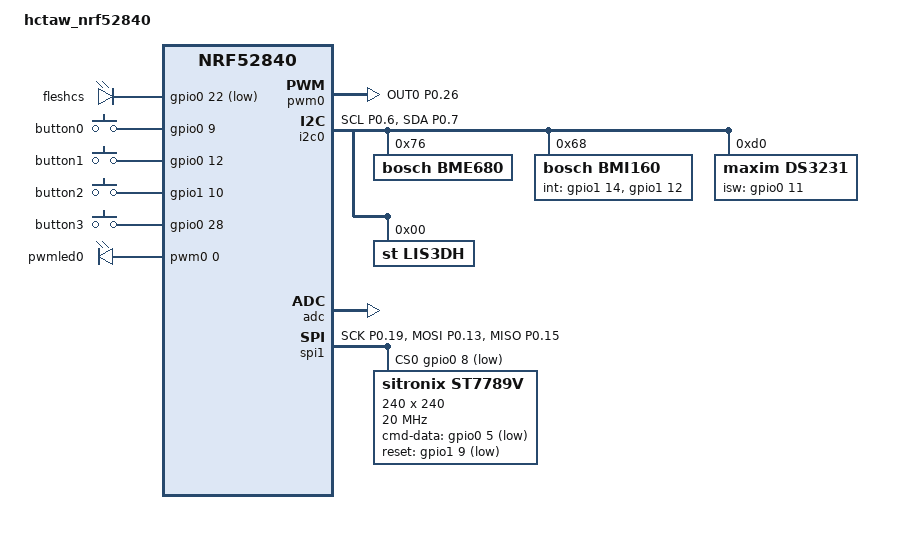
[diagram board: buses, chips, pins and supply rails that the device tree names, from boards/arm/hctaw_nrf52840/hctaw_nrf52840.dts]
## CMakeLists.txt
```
cmake_minimum_required(VERSION 3.20.0)
find_package(Zephyr REQUIRED HINTS $ENV{ZEPHYR_BASE})

project(hctaw)

FILE(GLOB app_sources src/*.c)
target_sources(app PRIVATE ${app_sources})
```

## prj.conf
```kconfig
CONFIG_PWM=y
CONFIG_LED=y
CONFIG_LED_PWM=y

CONFIG_USE_SEGGER_RTT=y
CONFIG_RTT_CONSOLE=y
CONFIG_LOG_DEFAULT_LEVEL=4

CONFIG_HEAP_MEM_POOL_SIZE=16384
CONFIG_MAIN_STACK_SIZE=2048
CONFIG_LV_Z_MEM_POOL_NUMBER_BLOCKS=8

CONFIG_DISPLAY=y
CONFIG_DISPLAY_LOG_LEVEL_ERR=y

CONFIG_LOG=y

CONFIG_LVGL=y
CONFIG_LV_MEM_CUSTOM=y
CONFIG_LV_USE_LOG=y
CONFIG_LV_USE_LABEL=y
CONFIG_LV_USE_IMG=y
CONFIG_LV_USE_BTN=y
CONFIG_LV_USE_IMG=y
CONFIG_LV_FONT_MONTSERRAT_14=y

CONFIG_SPI=y 
CONFIG_ST7789V=y
CONFIG_ST7789V_RGB565=y
CONFIG_LV_Z_BITS_PER_PIXEL=16
CONFIG_LV_COLOR_16_SWAP=y


# CONFIG_CLOCK_CONTROL_NRF_K32SRC_EXT_FULL_SWING=y
# CONFIG_CLOCK_CONTROL_NRF_K32SRC_20PPM=y
```

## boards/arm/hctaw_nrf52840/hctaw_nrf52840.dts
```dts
// Copyright (c) 2023 Nordic Semiconductor ASA
// SPDX-License-Identifier: Apache-2.0

/dts-v1/;
#include <nordic/nrf52840_qiaa.dtsi>

/ {
	model = "hctaw_nrf52840";
	compatible = "na,hctaw-nrf52840";

	chosen {
		zephyr,sram = &sram0;
		zephyr,flash = &flash0;
		zephyr,code-partition = &slot0_partition;
		zephyr,display = &st7789v;
	};

	// zephyr,user {
	// 	signal-gpios = <&gpio0 22 (GPIO_PULLUP | GPIO_ACTIVE_LOW)>;
	// };

	misc_pins {
		compatible = "gpio-leds";
		fleshcs: flesh_cs {
			gpios = <&gpio0 22 (GPIO_PULL_UP | GPIO_ACTIVE_LOW)>;
		};
	};

	buttons {
		compatible = "gpio-keys";
		button0: button_0 { 
			gpios = <&gpio0 9 0>;
		};

		button1: button_1 {
			gpios = <&gpio0 12 0>;
		};

		button2: button_2 {
			gpios = <&gpio1 10 0>;
		};

		button3: button_3 {
			gpios = <&gpio0 28 0>;
		};
	};

	pwm_pins {
		compatible = "pwm-leds";

		pwmled0: pwmled_0 {
			pwms = < &pwm0 0 PWM_HZ(100) 0 >;
		};
	};

	aliases {
		btn0 = &button0;
		btn1 = &button1;
		btn2 = &button2;
		btn3 = &button3;
		tftled = &pwmled0;
		fleshcs = &fleshcs;
	};
};

&gpio0 {
	status = "okay";
};

&gpio1 {
	status = "okay";
};


&flash0 {
	partitions {
		compatible = "fixed-partitions";
		#address-cells = <1>;
		#size-cells = <1>;

		boot_partition: partition@0 {
			label = "mcuboot";
			reg = <0x0 0xc000>;
		};
		slot0_partition: partition@c000 {
			label = "image-0";
			reg = <0xc000 0x00067000>;
		};
		slot1_partition: partition@73000 {
			label = "image-1";
			reg = <0x73000 0x00067000>;
		};
		scratch_partition: partition@da000 {
			label = "image-scratch";
			reg = <0xda000 0x0001e000>;
		};
		storage_partition: partition@f8000 {
			label = "storage";
			reg = <0xf8000 0x00008000>;
		};
	};
};


&pwm0 {
	status = "okay";
	pinctrl-0 = <&pwm0_default>;
    pinctrl-names = "default";
};

&i2c0 {
	compatible = "nordic,nrf-twim";
	status = "okay";
	pinctrl-0 = <&i2c0_default>;
	pinctrl-names = "default";
	bme680@76 {
		compatible = "bosch,bme680";
		reg = <0x76>;
	};

	bmi160@68 {
		compatible = "bosch,bmi160";
		reg = <0x68>;
		int-gpios = <&gpio1 14 0>, <&gpio1 12 0>;
	};

	ds3231@d0 {
		compatible = "maxim,ds3231";
		reg = <0xD0>;
		isw-gpios = <&gpio0 11 0>;
	};

	lis3dh@0 {
		compatible = "st,lis3dh";
		reg = <0x0 >;
	};

	
};

&adc {
	status = "okay";
};

&spi1 {
	compatible = "nordic,nrf-spim";
	status = "okay";
	pinctrl-0 = <&spi1_default>;
	pinctrl-1 = <&spi1_sleep>;
	pinctrl-names = "default", "sleep";
	cs-gpios = <&gpio0 8 GPIO_ACTIVE_LOW>;

	st7789v: st7789v@0 {
        compatible = "sitronix,st7789v";
		spi-max-frequency = <20000000>;
		reg = <0>;
		cmd-data-gpios = <&gpio0 5 GPIO_ACTIVE_LOW>;	// A1
		reset-gpios = <&gpio1 9 (GPIO_ACTIVE_LOW)>;		// A0
		width = <240>;
		height = <240>;
		x-offset = <0>;
		y-offset = <0>;
		vcom = <0x19>;
		gctrl = <0x35>;
		vrhs = <0x12>;
		vdvs = <0x20>;
		mdac = <0x00>;
		gamma = <0x01>;
		colmod = <0x65>;
		lcm = <0x2c>;
		porch-param = [0c 0c 00 33 33];
		cmd2en-param = [5a 69 02 01];
		pwctrl1-param = [a4 a1];
		pvgam-param = [D0 04 0D 11 13 2B 3F 54 4C 18 0D 0B 1F 23];
		nvgam-param = [D0 04 0C 11 13 2C 3F 44 51 2F 1F 1F 20 23];
		ram-param = [00 F0];
		rgb-param = [CD 08 14];
    };
};


&pinctrl {

	pwm0_default: pwm0_default {
		group1 {
			psels = <NRF_PSEL(PWM_OUT0, 0, 26) >;
		};
	};

	i2c0_default: i2c0_default {
		group1 {
			psels = <NRF_PSEL(TWIM_SCL, 0, 6)>, <NRF_PSEL(TWIM_SDA, 0, 7)>;
		};
	};

	spi1_default: spi1_default {
		group1 {
			psels = <NRF_PSEL(SPIM_SCK, 0, 19)>,
		   <NRF_PSEL(SPIM_MOSI, 0, 13)>,
		   <NRF_PSEL(SPIM_MISO, 0, 15)>;
		};
	};

	spi1_sleep: spi1_sleep {
		group1 {
			psels = <NRF_PSEL(SPIM_SCK, 0, 19)>,
				<NRF_PSEL(SPIM_MOSI, 0, 13)>,
				<NRF_PSEL(SPIM_MISO, 0, 15)>;
			low-power-enable;
		};
	};
};
```

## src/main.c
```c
#include <zephyr/device.h>
#include <zephyr/devicetree.h>
#include <zephyr/drivers/display.h>
#include <zephyr/drivers/gpio.h>
#include <lvgl.h>
#include <stdio.h>
#include <string.h>
#include <zephyr/kernel.h>
#include <zephyr/drivers/pwm.h>
#include <zephyr/drivers/led.h>


#define LOG_LEVEL CONFIG_LOG_DEFAULT_LEVEL
#include <zephyr/logging/log.h>
LOG_MODULE_REGISTER(app);

static const struct device *pwm_led0 = DEVICE_DT_GET(DT_COMPAT_GET_ANY_STATUS_OKAY(pwm_leds));

#define MIN_PERIOD PWM_SEC(1U) / 128U
#define MAX_PERIOD PWM_SEC(1U)

#define STEP_SIZE PWM_USEC(2000)

static lv_obj_t * meter;

// static const struct gpio_dt_spec flesh_cs = GPIO_DT_SPEC_GET(DT_NODELABEL(fleshcs), gpios);
static const struct gpio_dt_spec flesh_cs = GPIO_DT_SPEC_GET(DT_ALIAS(fleshcs), gpios);

static void set_value(void * indic, int32_t v)
{
    // printk("UPDATE\n");
    lv_meter_set_indicator_end_value(meter, indic, v);
}

int main(void)
{
	int ret;

    if (!gpio_is_ready_dt(&flesh_cs)) {
		return 0;
	}
    printk("FLESH READY\n");

	ret = gpio_pin_configure_dt(&flesh_cs, GPIO_OUTPUT_INACTIVE);
	if (ret < 0) {
		return 0;
	}
    printk("FLESH CONFIG");

	if (!device_is_ready(pwm_led0)) {
		LOG_ERR("Device %s is not ready", pwm_led0->name);
		return 0;
	}

	// ret = led_on(pwm_led0, 0);
	// if (ret < 0) {
	// 	LOG_ERR("led on err=%d", ret);
	// 	return 0;
	// }

	// ret = led_set_brightness(pwm_led0, 0, 10);
	// if (ret < 0) {
	// 	LOG_ERR("brightness err=%d", ret);
	// 	return 0;
	// }
	// uint32_t pulse = STEP_SIZE;
	// printk("PWM-based blinky \n");
    //     if (!device_is_ready(pwm_led0.dev)) {
	// 	printk("Error: PWM device %s is not ready\n",
	// 	       pwm_led0.dev->name);
	// 	return 0;
	// }
    //     ret = pwm_set_pulse_dt(&pwm_led0, pulse);
	// 	if (ret){
	// 		printk("ERROR\n");
	// 		return 0;
	// 	}
        // int err;
	// char count_str[11] = {0};
	const struct device *display_dev;
	// lv_obj_t *hello_world_label;
	// lv_obj_t *count_label;
	printk("HELLO\nI AM WORKING!!\n");
	display_dev = DEVICE_DT_GET(DT_CHOSEN(zephyr_display));
	if (!device_is_ready(display_dev)) {
		LOG_ERR("Device not ready, aborting test");
		return 0;
	}

    static lv_style_t style_screen;
	lv_style_init(&style_screen);
	lv_style_set_bg_color(&style_screen, lv_color_white());
	lv_obj_add_style(lv_scr_act(), &style_screen, 0);

	meter = lv_meter_create(lv_scr_act());
	if (meter == NULL) {
		printk("METER NULL\n");
	}
    lv_obj_set_size(meter, 220, 220);
    lv_obj_center(meter);

    /*Create a scale for the minutes*/
    /*61 ticks in a 360 degrees range (the last and the first line overlaps)*/
    lv_meter_scale_t * scale_min = lv_meter_add_scale(meter);
	if (scale_min == NULL) {
		printk("SCALE MIN NULL\n");
	}
    lv_meter_set_scale_ticks(meter, scale_min, 61, 1, 10, lv_palette_main(LV_PALETTE_GREY));
    lv_meter_set_scale_range(meter, scale_min, 0, 60, 360, 270);

    /*Create another scale for the hours. It's only visual and contains only major ticks*/
    lv_meter_scale_t * scale_hour = lv_meter_add_scale(meter);
	if (scale_hour == NULL) {
		printk("SCALE HOUR NULL\n");
	}
    lv_meter_set_scale_ticks(meter, scale_hour, 12, 0, 0, lv_palette_main(LV_PALETTE_GREY));               /*12 ticks*/
    lv_meter_set_scale_major_ticks(meter, scale_hour, 1, 2, 20, lv_color_black(), 10);    /*Every tick is major*/
    lv_meter_set_scale_range(meter, scale_hour, 1, 12, 330, 300);       /*[1..12] values in an almost full circle*/

    LV_IMG_DECLARE(hand)

    /*Add a the hands from images*/
    lv_meter_indicator_t * indic_min = lv_meter_add_needle_img(meter, scale_min, &hand, 5, 5);
	if (indic_min == NULL) {
		printk("INDIC MIN NULL\n");
	}
    lv_meter_indicator_t * indic_hour = lv_meter_add_needle_img(meter, scale_hour, &hand, 5, 5);
	if (indic_hour == NULL) {
		printk("INDIC HOUR NULL\n");
	}

    /*Create an animation to set the value*/
    lv_anim_t a;
    lv_anim_init(&a);
    lv_anim_set_exec_cb(&a, set_value);
    lv_anim_set_values(&a, 0, 60);
    lv_anim_set_repeat_count(&a, LV_ANIM_REPEAT_INFINITE);
    lv_anim_set_time(&a, 2000);     /*2 sec for 1 turn of the minute hand (1 hour)*/
    lv_anim_set_var(&a, indic_min);
    lv_anim_start(&a);

    lv_anim_set_var(&a, indic_hour);
    lv_anim_set_time(&a, 24000);    /*24 sec for 1 turn of the hour hand*/
    lv_anim_set_values(&a, 0, 60);
    lv_anim_start(&a);
        lv_task_handler();
        display_blanking_off(display_dev);

    while(1) {
        k_msleep(5);
        lv_task_handler();
    }
        return 0;
}
```
